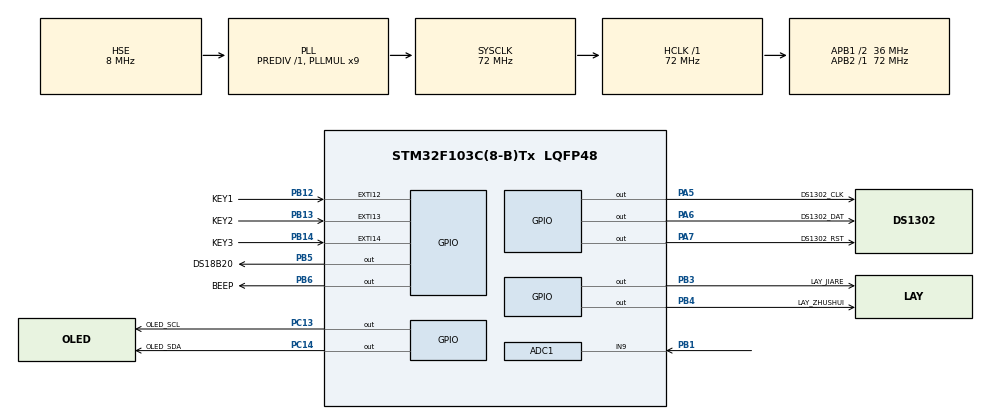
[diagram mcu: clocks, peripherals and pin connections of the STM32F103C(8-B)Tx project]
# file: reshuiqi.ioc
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ADC1.Channel-0\#ChannelRegularConversion=ADC_CHANNEL_9
ADC1.NbrOfConversionFlag=1
ADC1.Rank-0\#ChannelRegularConversion=1
ADC1.SamplingTime-0\#ChannelRegularConversion=ADC_SAMPLETIME_1CYCLE_5
ADC1.master=1
Mcu.Family=STM32F1
Mcu.Name=STM32F103C(8-B)Tx
Mcu.Package=LQFP48
NVIC.EXTI15_10_IRQn=true\:0\:0\:false\:false\:true\:true\:true\:true
NVIC.PriorityGroup=NVIC_PRIORITYGROUP_4
NVIC.TIM1_UP_IRQn=true\:1\:0\:true\:false\:true\:true\:true\:true
PA13.Mode=Serial_Wire
PA13.Signal=SYS_JTMS-SWDIO
PA14.Mode=Serial_Wire
PA14.Signal=SYS_JTCK-SWCLK
PA5.GPIO_Label=DS1302_CLK
PA5.GPIO_ModeDefaultOutputPP=GPIO_MODE_OUTPUT_PP
PA5.GPIO_PuPd=GPIO_PULLUP
PA5.GPIO_Speed=GPIO_SPEED_FREQ_HIGH
PA5.PinState=GPIO_PIN_SET
PA5.Signal=GPIO_Output
PA6.GPIO_Label=DS1302_DAT
PA6.GPIO_ModeDefaultOutputPP=GPIO_MODE_OUTPUT_PP
PA6.GPIO_PuPd=GPIO_PULLUP
PA6.GPIO_Speed=GPIO_SPEED_FREQ_HIGH
PA6.PinState=GPIO_PIN_SET
PA6.Signal=GPIO_Output
PA7.GPIO_Label=DS1302_RST
PA7.GPIO_ModeDefaultOutputPP=GPIO_MODE_OUTPUT_PP
PA7.GPIO_PuPd=GPIO_PULLUP
PA7.GPIO_Speed=GPIO_SPEED_FREQ_HIGH
PA7.PinState=GPIO_PIN_SET
PA7.Signal=GPIO_Output
PB1.Signal=ADCx_IN9
PB12.GPIO_Label=KEY1
PB12.GPIO_ModeDefaultEXTI=GPIO_MODE_IT_FALLING
PB12.GPIO_PuPd=GPIO_PULLUP
PB12.Signal=GPXTI12
PB13.GPIO_Label=KEY2
PB13.GPIO_ModeDefaultEXTI=GPIO_MODE_IT_FALLING
PB13.GPIO_PuPd=GPIO_PULLUP
PB13.Signal=GPXTI13
PB14.GPIO_Label=KEY3
PB14.GPIO_ModeDefaultEXTI=GPIO_MODE_IT_FALLING
PB14.GPIO_PuPd=GPIO_PULLUP
PB14.Signal=GPXTI14
PB3.GPIO_Label=LAY_JIARE
PB3.GPIO_ModeDefaultOutputPP=GPIO_MODE_OUTPUT_PP
PB3.GPIO_PuPd=GPIO_PULLDOWN
PB3.GPIO_Speed=GPIO_SPEED_FREQ_HIGH
PB3.PinState=GPIO_PIN_SET
PB3.Signal=GPIO_Output
PB4.GPIO_Label=LAY_ZHUSHUI
PB4.GPIO_ModeDefaultOutputPP=GPIO_MODE_OUTPUT_PP
PB4.GPIO_PuPd=GPIO_PULLDOWN
PB4.GPIO_Speed=GPIO_SPEED_FREQ_HIGH
PB4.PinState=GPIO_PIN_SET
PB4.Signal=GPIO_Output
PB5.GPIO_Label=DS18B20
PB5.GPIO_ModeDefaultOutputPP=GPIO_MODE_OUTPUT_PP
PB5.GPIO_PuPd=GPIO_PULLUP
PB5.GPIO_Speed=GPIO_SPEED_FREQ_HIGH
PB5.PinState=GPIO_PIN_SET
PB5.Signal=GPIO_Output
PB6.GPIO_Label=BEEP
PB6.GPIO_ModeDefaultOutputPP=GPIO_MODE_OUTPUT_PP
PB6.GPIO_PuPd=GPIO_PULLUP
PB6.GPIO_Speed=GPIO_SPEED_FREQ_HIGH
PB6.PinState=GPIO_PIN_SET
PB6.Signal=GPIO_Output
PC13-TAMPER-RTC.GPIO_Label=OLED_SCL
PC13-TAMPER-RTC.GPIO_ModeDefaultOutputPP=GPIO_MODE_OUTPUT_PP
PC13-TAMPER-RTC.GPIO_PuPd=GPIO_PULLUP
PC13-TAMPER-RTC.GPIO_Speed=GPIO_SPEED_FREQ_HIGH
PC13-TAMPER-RTC.PinState=GPIO_PIN_SET
PC13-TAMPER-RTC.Signal=GPIO_Output
PC14-OSC32_IN.GPIO_Label=OLED_SDA
PC14-OSC32_IN.GPIO_ModeDefaultOutputPP=GPIO_MODE_OUTPUT_PP
PC14-OSC32_IN.GPIO_PuPd=GPIO_PULLUP
PC14-OSC32_IN.GPIO_Speed=GPIO_SPEED_FREQ_HIGH
PC14-OSC32_IN.PinState=GPIO_PIN_SET
PC14-OSC32_IN.Signal=GPIO_Output
PD0-OSC_IN.Mode=HSE-External-Oscillator
PD0-OSC_IN.Signal=RCC_OSC_IN
PD1-OSC_OUT.Mode=HSE-External-Oscillator
PD1-OSC_OUT.Signal=RCC_OSC_OUT
ProjectManager.HeapSize=0x200
ProjectManager.StackSize=0x400
ProjectManager.TargetToolchain=MDK-ARM V5.32
RCC.ADCPresc=RCC_ADCPCLK2_DIV6
RCC.AHBFreq_Value=72000000
RCC.APB1CLKDivider=RCC_HCLK_DIV2
RCC.APB1Freq_Value=36000000
RCC.APB1TimFreq_Value=72000000
RCC.APB2Freq_Value=72000000
RCC.APB2TimFreq_Value=72000000
RCC.HCLKFreq_Value=72000000
RCC.PLLMUL=RCC_PLL_MUL9
RCC.PLLSourceVirtual=RCC_PLLSOURCE_HSE
RCC.SYSCLKFreq_VALUE=72000000
RCC.SYSCLKSource=RCC_SYSCLKSOURCE_PLLCLK
RCC.USBFreq_Value=72000000
SH.ADCx_IN9.0=ADC1_IN9,IN9
TIM1.AutoReloadPreload=TIM_AUTORELOAD_PRELOAD_ENABLE
TIM1.Period=999
VP_TIM1_VS_ClockSourceINT.Mode=Internal
board=custom

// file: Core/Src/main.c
/* USER CODE BEGIN Header */
/**
  ******************************************************************************
  * @file           : main.c
  * @brief          : Main program body
  ******************************************************************************
  * @attention
  *
  * Copyright (c) 2026 STMicroelectronics.
  * All rights reserved.
  *
  * This software is licensed under terms that can be found in the LICENSE file
  * in the root directory of this software component.
  * If no LICENSE file comes with this software, it is provided AS-IS.
  *
  ******************************************************************************
  */
/* USER CODE END Header */
#include "main.h"
#include "adc.h"
#include "tim.h"
#include "gpio.h"

/* USER CODE BEGIN Includes */
#include "oled.h"
#include "ds1302.h"
#include "ds18b20.h"
#include <stdio.h>
#include <string.h>
/* USER CODE END Includes */

/* USER CODE BEGIN PV */
DS1302_Time time;
uint8_t time_str[32];
float temperature;
uint8_t temp_str[32];
uint16_t adc_value;
uint8_t water_depth_str[32];
uint8_t water_fill_str[32];
uint8_t heating_str[32];
volatile uint8_t time_update_flag = 0;

// 按键标志
volatile uint8_t key1_pressed = 0;
volatile uint8_t key2_pressed = 0;
volatile uint8_t key3_pressed = 0;

// 设置状态
typedef enum {
    STATE_MAIN,           // 主界面
    STATE_SET_TEMP_HIGH,  // 设置温度高阈值
    STATE_SET_TEMP_LOW,   // 设置温度低阈值
    STATE_SET_WATER_LEVEL, // 设置水位阈值
    STATE_SET_TIME,       // 设置时间
    STATE_SET_WATER_TIME  // 设置注水时刻
} SystemState;

SystemState current_state = STATE_MAIN;
uint8_t setting_index = 0;

// 设置参数
int8_t temp_high_threshold = 60;
int8_t temp_low_threshold = 20;
uint16_t water_level_threshold = 100;
DS1302_Time water_fill_time;

// 定时注水
uint8_t water_fill_active = 0;
uint32_t water_fill_start_time = 0;
uint8_t water_fill_triggered = 0;

// 加热状态
uint8_t heating_active = 0;

// 显示缓冲
uint8_t display_line1[32];
uint8_t display_line2[32];
uint8_t display_line3[32];
uint8_t display_line4[32];

// 用于检测状态变化
SystemState previous_state = STATE_MAIN;
/* 用户参数存储结构 */
typedef struct {
    int8_t temp_high_threshold;
    int8_t temp_low_threshold;
    uint16_t water_level_threshold;
    uint32_t checksum;
} UserParams;

/* Flash存储地址 - 使用最后一个扇区 */
#define FLASH_USER_START_ADDR  ((uint32_t)0x0801F800)

/* 用于存储参数的变量 */
UserParams user_params;

/* USER CODE END PV */

void SystemClock_Config(void);
/* USER CODE BEGIN PFP */
void SaveParamsToFlash(void);
void LoadParamsFromFlash(void);
uint32_t CalculateChecksum(UserParams *params);
/* USER CODE END PFP */

/* USER CODE BEGIN 0 */

/* 计算校验和 */
uint32_t CalculateChecksum(UserParams *params)
{
    uint32_t sum = 0;
    sum += (uint32_t)params->temp_high_threshold;
    sum += (uint32_t)params->temp_low_threshold;
    sum += (uint32_t)params->water_level_threshold;
    return sum;
}

/* 保存参数到Flash */
void SaveParamsToFlash(void)
{
    FLASH_EraseInitTypeDef EraseInitStruct;
    uint32_t PAGEError = 0;
    HAL_StatusTypeDef status;

    /* 解锁Flash */
    HAL_FLASH_Unlock();

    /* 擦除指定页 */
    EraseInitStruct.TypeErase = FLASH_TYPEERASE_PAGES;
    EraseInitStruct.PageAddress = FLASH_USER_START_ADDR;
    EraseInitStruct.NbPages = 1;

    status = HAL_FLASHEx_Erase(&EraseInitStruct, &PAGEError);

    if (status == HAL_OK)
    {
        /* 填充参数结构体 */
        user_params.temp_high_threshold = temp_high_threshold;
        user_params.temp_low_threshold = temp_low_threshold;
        user_params.water_level_threshold = water_level_threshold;
        user_params.checksum = CalculateChecksum(&user_params);

        /* 写入Flash */
        uint32_t *src = (uint32_t *)&user_params;
        uint32_t addr = FLASH_USER_START_ADDR;
        uint32_t size = (sizeof(UserParams) + 3) / 4; /* 以字为单位 */

        for (uint32_t i = 0; i < size; i++)
        {
            HAL_FLASH_Program(FLASH_TYPEPROGRAM_WORD, addr, *src);
            addr += 4;
            src++;
        }
    }

    /* 锁定Flash */
    HAL_FLASH_Lock();
}

/* 从Flash加载参数 */
void LoadParamsFromFlash(void)
{
    UserParams *flash_params = (UserParams *)FLASH_USER_START_ADDR;

    /* 检查校验和 */
    if (flash_params->checksum == CalculateChecksum(flash_params))
    {
        /* 加载有效参数 */
        temp_high_threshold = flash_params->temp_high_threshold;
        temp_low_threshold = flash_params->temp_low_threshold;
        water_level_threshold = flash_params->water_level_threshold;
    }
    /* 如果校验和无效，保持默认值 */
}

void HAL_GPIO_EXTI_Callback(uint16_t GPIO_Pin)
{
    if (GPIO_Pin == KEY1_Pin)
    {
        key1_pressed = 1;
    }
    else if (GPIO_Pin == KEY2_Pin)
    {
        key2_pressed = 1;
    }
    else if (GPIO_Pin == KEY3_Pin)
    {
        key3_pressed = 1;
    }
}

/* USER CODE END 0 */

int main(void)
{

  /* MCU Configuration--------------------------------------------------------*/

  /* Reset of all peripherals, Initializes the Flash interface and the Systick. */
  HAL_Init();

  /* Configure the system clock */
  SystemClock_Config();

  /* Initialize all configured peripherals */
  MX_GPIO_Init();
  MX_TIM1_Init();
  MX_ADC1_Init();
  /* USER CODE BEGIN 2 */
  OLED_Init();
  DS1302_Init();
  DS18B20_Init();

//  time.year = 24;
//  time.month = 6;
//  time.day = 1;
//  time.week = 1;
//  time.hour = 12;
//  time.minute = 0;
//  time.second = 0;
//  DS1302_SetTime(&time);

  /* 从Flash加载保存的参数 */
  LoadParamsFromFlash();

  // 初始化注水时间
  water_fill_time.hour = 12;
  water_fill_time.minute = 0;
  water_fill_time.second = 0;

  // 启动定时器
  HAL_TIM_Base_Start_IT(&htim1);
  /* USER CODE END 2 */

  /* Infinite loop */
  while (1)
  {

    /* USER CODE BEGIN 3 */

    // 读取当前时间 - 只有不在设置时间界面时才更新
    if (time_update_flag && current_state != STATE_SET_TIME)
    {
        time_update_flag = 0;
        DS1302_GetTime(&time);
    }

    // 检查定时注水
    static uint32_t check_water_fill_timer = 0;
    if (HAL_GetTick() - check_water_fill_timer >= 100)
    {
        check_water_fill_timer = HAL_GetTick();

        // 检查是否到达注水时刻
        if (current_state == STATE_MAIN && !water_fill_active)
        {
            if (time.hour == water_fill_time.hour &&
                time.minute == water_fill_time.minute &&
                time.second == water_fill_time.second &&
                !water_fill_triggered)
            {
                // 开始注水
                HAL_GPIO_WritePin(LAY_ZHUSHUI_GPIO_Port, LAY_ZHUSHUI_Pin, GPIO_PIN_SET);
                water_fill_active = 1;
                water_fill_start_time = HAL_GetTick();
                water_fill_triggered = 1;
            }
        }

        // 检查注水5秒后关闭
        if (water_fill_active && (HAL_GetTick() - water_fill_start_time >= 5000))
        {
            HAL_GPIO_WritePin(LAY_ZHUSHUI_GPIO_Port, LAY_ZHUSHUI_Pin, GPIO_PIN_RESET);
            water_fill_active = 0;
        }

        // 重置triggered标志
        if (time.second != water_fill_time.second)
        {
            water_fill_triggered = 0;
        }
    }

    // 处理按键
    if (key1_pressed)
    {
        key1_pressed = 0;

        // 切换状态
        switch (current_state)
        {
            case STATE_MAIN:
                current_state = STATE_SET_TEMP_HIGH;
                setting_index = 0;
                break;
            case STATE_SET_TEMP_HIGH:
                current_state = STATE_SET_TEMP_LOW;
                /* 保存参数到Flash */
                SaveParamsToFlash();
                break;
            case STATE_SET_TEMP_LOW:
                current_state = STATE_SET_WATER_LEVEL;
                /* 保存参数到Flash */
                SaveParamsToFlash();
                break;
            case STATE_SET_WATER_LEVEL:
                current_state = STATE_SET_TIME;
                setting_index = 0;
                /* 保存参数到Flash */
                SaveParamsToFlash();
                // 进入设置时间页面时，先读取DS1302的当前时间作为初始值
                DS1302_GetTime(&time);
                break;
            case STATE_SET_TIME:
                if (setting_index < 5)
                {
                    setting_index++;
                }
                else
                {
                    current_state = STATE_SET_WATER_TIME;
                    // 保存时间到DS1302
                    DS1302_SetTime(&time);
                    setting_index = 0;
                }
                break;
            case STATE_SET_WATER_TIME:
                if (setting_index < 2)
                {
                    setting_index++;
                }
                else
                {
                    current_state = STATE_MAIN;
                }
                break;
        }
    }

    if (key2_pressed)
    {
        key2_pressed = 0;

        switch (current_state)
        {
            case STATE_SET_TEMP_HIGH:
                if (temp_high_threshold < 100) temp_high_threshold++;
                break;
            case STATE_SET_TEMP_LOW:
                if (temp_low_threshold < temp_high_threshold - 1) temp_low_threshold++;
                break;
            case STATE_SET_WATER_LEVEL:
                if (water_level_threshold < 4500) water_level_threshold += 100;
                break;
            case STATE_SET_TIME:
                switch (setting_index)
                {
                    case 0: if (time.year < 99) time.year++; break;
                    case 1: if (time.month < 12) time.month++; else time.month = 1; break;
                    case 2: if (time.day < 31) time.day++; else time.day = 1; break;
                    case 3: if (time.hour < 23) time.hour++; else time.hour = 0; break;
                    case 4: if (time.minute < 59) time.minute++; else time.minute = 0; break;
                    case 5: if (time.second < 59) time.second++; else time.second = 0; break;
                }
                break;
            case STATE_SET_WATER_TIME:
                switch (setting_index)
                {
                    case 0: if (water_fill_time.hour < 23) water_fill_time.hour++; else water_fill_time.hour = 0; break;
                    case 1: if (water_fill_time.minute < 59) water_fill_time.minute++; else water_fill_time.minute = 0; break;
                    case 2: if (water_fill_time.second < 59) water_fill_time.second++; else water_fill_time.second = 0; break;
                }
                break;
            default:
                break;
        }
    }

    if (key3_pressed)
    {
        key3_pressed = 0;

        switch (current_state)
        {
            case STATE_MAIN:
                // 主界面不处理
                break;
            case STATE_SET_TEMP_HIGH:
                if (temp_high_threshold > temp_low_threshold + 1) temp_high_threshold--;
                break;
            case STATE_SET_TEMP_LOW:
                if (temp_low_threshold > 0) temp_low_threshold--;
                break;
            case STATE_SET_WATER_LEVEL:
                if (water_level_threshold > 0) water_level_threshold -= 100;
                break;
            case STATE_SET_TIME:
                switch (setting_index)
                {
                    case 0: if (time.year > 0) time.year--; break;
                    case 1: if (time.month > 1) time.month--; else time.month = 12; break;
                    case 2: if (time.day > 1) time.day--; else time.day = 31; break;
                    case 3: if (time.hour > 0) time.hour--; else time.hour = 23; break;
                    case 4: if (time.minute > 0) time.minute--; else time.minute = 59; break;
                    case 5: if (time.second > 0) time.second--; else time.second = 59; break;
                }
                break;
            case STATE_SET_WATER_TIME:
                switch (setting_index)
                {
                    case 0: if (water_fill_time.hour > 0) water_fill_time.hour--; else water_fill_time.hour = 23; break;
                    case 1: if (water_fill_time.minute > 0) water_fill_time.minute--; else water_fill_time.minute = 59; break;
                    case 2: if (water_fill_time.second > 0) water_fill_time.second--; else water_fill_time.second = 59; break;
                }
                break;
        }
    }

    // 读取传感器数据
    static uint32_t sensor_update_timer = 0;
    if (HAL_GetTick() - sensor_update_timer >= 1000)
    {
        sensor_update_timer = HAL_GetTick();

        // 读取温度
        temperature = DS18B20_Get_Temperature();

        // 读取ADC
        HAL_ADC_Start(&hadc1);
        if (HAL_ADC_PollForConversion(&hadc1, 10) == HAL_OK)
        {
            adc_value = HAL_ADC_GetValue(&hadc1);
        }
        HAL_ADC_Stop(&hadc1);

        // 温度控制（仅在主界面）
        if (current_state == STATE_MAIN && temperature > -100)
        {
            if (temperature < temp_low_threshold)
            {
                // 低于低阈值，开启加热
                heating_active = 1;
                HAL_GPIO_WritePin(LAY_JIARE_GPIO_Port, LAY_JIARE_Pin, GPIO_PIN_SET);
            }
            else if (temperature >= temp_high_threshold)
            {
                // 达到高阈值，停止加热
                heating_active = 0;
                HAL_GPIO_WritePin(LAY_JIARE_GPIO_Port, LAY_JIARE_Pin, GPIO_PIN_RESET);
            }
            else
            {
                // 温度在低阈值和高阈值之间，保持当前状态
                if (heating_active)
                {
                    HAL_GPIO_WritePin(LAY_JIARE_GPIO_Port, LAY_JIARE_Pin, GPIO_PIN_SET);
                }
                else
                {
                    HAL_GPIO_WritePin(LAY_JIARE_GPIO_Port, LAY_JIARE_Pin, GPIO_PIN_RESET);
                }
            }

            // 温度报警控制
            if (temperature >= temp_high_threshold)
            {
                // 超过高阈值，拉低beep报警
                HAL_GPIO_WritePin(BEEP_GPIO_Port, BEEP_Pin, GPIO_PIN_RESET);
            }
            else
            {
                // 低于高阈值，拉高beep（默认状态）
                HAL_GPIO_WritePin(BEEP_GPIO_Port, BEEP_Pin, GPIO_PIN_SET);
            }
        }

        // 水位控制（仅在主界面且不在定时注水时）
        if (current_state == STATE_MAIN && !water_fill_active)
        {
            if (adc_value < water_level_threshold)
            {
                HAL_GPIO_WritePin(LAY_ZHUSHUI_GPIO_Port, LAY_ZHUSHUI_Pin, GPIO_PIN_SET);
            }
            else
            {
                HAL_GPIO_WritePin(LAY_ZHUSHUI_GPIO_Port, LAY_ZHUSHUI_Pin, GPIO_PIN_RESET);
            }
        }
    }

    // 显示界面 - 只在状态切换时清屏
    if (current_state != previous_state)
    {
        OLED_Clear();
        previous_state = current_state;
    }

    if (current_state == STATE_MAIN)
    {
        // 主界面 - 每次都完整绘制（避免静态变量问题）
        sprintf((char*)display_line1, "Water Temp:%.1f C", temperature);
        OLED_ShowString(0, 0, display_line1, 8, 1);

        sprintf((char*)display_line2, "Water Depth:%4d", adc_value);
        OLED_ShowString(0, 8, display_line2, 8, 1);

        if (water_fill_active)
        {
            sprintf((char*)display_line3, "Water Fill:YES*");
        }
        else if (HAL_GPIO_ReadPin(LAY_ZHUSHUI_GPIO_Port, LAY_ZHUSHUI_Pin) == GPIO_PIN_SET)
        {
            sprintf((char*)display_line3, "Water Fill:YES");
        }
        else
        {
            sprintf((char*)display_line3, "Water Fill:NO ");
        }
        OLED_ShowString(0, 16, display_line3, 8, 1);

        if (HAL_GPIO_ReadPin(LAY_JIARE_GPIO_Port, LAY_JIARE_Pin) == GPIO_PIN_SET)
        {
            sprintf((char*)display_line4, "Heating:YES");
        }
        else
        {
            sprintf((char*)display_line4, "Heating:NO ");
        }
        OLED_ShowString(0, 24, display_line4, 8, 1);

        sprintf((char*)time_str, "20%02d-%02d-%02d %02d:%02d:%02d",
                time.year, time.month, time.day,
                time.hour, time.minute, time.second);
        OLED_ShowString(0, 32, time_str, 8, 1);

        OLED_Refresh();
    }
    else if (current_state == STATE_SET_TEMP_HIGH || current_state == STATE_SET_TEMP_LOW)
    {
        // 温度阈值设置界面 - 有变化才更新
        static int8_t prev_temp_high = -1;
        static int8_t prev_temp_low = -1;
        static SystemState prev_temp_state = STATE_MAIN;

        if (temp_high_threshold != prev_temp_high || temp_low_threshold != prev_temp_low || current_state != prev_temp_state)
        {
            sprintf((char*)display_line1, "Temp Threshold");
            sprintf((char*)display_line2, "High:%3d C", temp_high_threshold);
            sprintf((char*)display_line3, "Low :%3d C", temp_low_threshold);

            if (current_state == STATE_SET_TEMP_HIGH)
            {
                sprintf((char*)display_line4, "Set High ->");
            }
            else
            {
                sprintf((char*)display_line4, "Set Low  ->");
            }

            OLED_ShowString(0, 0, display_line1, 8, 1);
            OLED_ShowString(0, 8, display_line2, 8, 1);
            OLED_ShowString(0, 16, display_line3, 8, 1);
            OLED_ShowString(0, 24, display_line4, 8, 1);
            OLED_Refresh();

            prev_temp_high = temp_high_threshold;
            prev_temp_low = temp_low_threshold;
            prev_temp_state = current_state;
        }
    }
    else if (current_state == STATE_SET_WATER_LEVEL)
    {
        // 水位阈值设置界面 - 有变化才更新
        static uint16_t prev_water_thresh = 0xFFFF;
        static uint16_t prev_water_val = 0xFFFF;

        if (water_level_threshold != prev_water_thresh || adc_value != prev_water_val)
        {
            sprintf((char*)display_line1, "Water Level");
            sprintf((char*)display_line2, "Threshold:%4d", water_level_threshold);
            sprintf((char*)display_line3, "Current :%4d", adc_value);

            OLED_ShowString(0, 0, display_line1, 8, 1);
            OLED_ShowString(0, 8, display_line2, 8, 1);
            OLED_ShowString(0, 16, display_line3, 8, 1);
            OLED_Refresh();

            prev_water_thresh = water_level_threshold;
            prev_water_val = adc_value;
        }
    }
    else if (current_state == STATE_SET_TIME)
    {
        // 时间设置界面 - 每次都显示
        OLED_Clear();

        sprintf((char*)display_line1, "Set Time");
        sprintf((char*)display_line2, "20%02d-%02d-%02d %02d:%02d:%02d",
                time.year, time.month, time.day, time.hour, time.minute, time.second);

        char cursor[32] = "                                ";
        if (setting_index == 0) cursor[2] = '^';   // 年份位置
        else if (setting_index == 1) cursor[5] = '^';  // 月份位置
        else if (setting_index == 2) cursor[8] = '^';  // 日期位置
        else if (setting_index == 3) cursor[11] = '^'; // 小时位置
        else if (setting_index == 4) cursor[14] = '^'; // 分钟位置
        else if (setting_index == 5) cursor[17] = '^'; // 秒位置

        OLED_ShowString(0, 0, display_line1, 8, 1);
        OLED_ShowString(0, 8, display_line2, 8, 1);
        OLED_ShowString(0, 16, (uint8_t*)cursor, 8, 1);
        OLED_Refresh();
    }
    else if (current_state == STATE_SET_WATER_TIME)
    {
        // 注水时刻设置界面 - 有变化才更新
        static DS1302_Time prev_water_fill;
        static uint8_t prev_fill_idx = 0xFF;

        if (water_fill_time.hour != prev_water_fill.hour ||
            water_fill_time.minute != prev_water_fill.minute ||
            water_fill_time.second != prev_water_fill.second ||
            setting_index != prev_fill_idx)
        {
            OLED_Clear();

            sprintf((char*)display_line1, "Set Water Time");
            sprintf((char*)display_line2, "%02d:%02d:%02d", water_fill_time.hour, water_fill_time.minute, water_fill_time.second);

            char cursor[16] = "          ";
            if (setting_index == 0) cursor[1] = '^';
            else if (setting_index == 1) cursor[4] = '^';
            else if (setting_index == 2) cursor[7] = '^';

            OLED_ShowString(0, 0, display_line1, 8, 1);
            OLED_ShowString(0, 8, display_line2, 8, 1);
            OLED_ShowString(0, 16, (uint8_t*)cursor, 8, 1);
            OLED_Refresh();

            prev_water_fill = water_fill_time;
            prev_fill_idx = setting_index;
        }
    }
  }
  /* USER CODE END 3 */
}

void SystemClock_Config(void)
{
  RCC_OscInitTypeDef RCC_OscInitStruct = {0};
  RCC_ClkInitTypeDef RCC_ClkInitStruct = {0};
  RCC_PeriphCLKInitTypeDef PeriphClkInit = {0};

  /** Initializes the RCC Oscillators according to the specified parameters
  * in the RCC_OscInitTypeDef structure.
  */
  RCC_OscInitStruct.OscillatorType = RCC_OSCILLATORTYPE_HSE;
  RCC_OscInitStruct.HSEState = RCC_HSE_ON;
  RCC_OscInitStruct.HSEPredivValue = RCC_HSE_PREDIV_DIV1;
  RCC_OscInitStruct.HSIState = RCC_HSI_ON;
  RCC_OscInitStruct.PLL.PLLState = RCC_PLL_ON;
  RCC_OscInitStruct.PLL.PLLSource = RCC_PLLSOURCE_HSE;
  RCC_OscInitStruct.PLL.PLLMUL = RCC_PLL_MUL9;
  if (HAL_RCC_OscConfig(&RCC_OscInitStruct) != HAL_OK)
  {
    Error_Handler();
  }

  /** Initializes the CPU, AHB and APB buses clocks
  */
  RCC_ClkInitStruct.ClockType = RCC_CLOCKTYPE_HCLK|RCC_CLOCKTYPE_SYSCLK
                              |RCC_CLOCKTYPE_PCLK1|RCC_CLOCKTYPE_PCLK2;
  RCC_ClkInitStruct.SYSCLKSource = RCC_SYSCLKSOURCE_PLLCLK;
  RCC_ClkInitStruct.AHBCLKDivider = RCC_SYSCLK_DIV1;
  RCC_ClkInitStruct.APB1CLKDivider = RCC_HCLK_DIV2;
  RCC_ClkInitStruct.APB2CLKDivider = RCC_HCLK_DIV1;

  if (HAL_RCC_ClockConfig(&RCC_ClkInitStruct, FLASH_LATENCY_2) != HAL_OK)
  {
    Error_Handler();
  }
  PeriphClkInit.PeriphClockSelection = RCC_PERIPHCLK_ADC;
  PeriphClkInit.AdcClockSelection = RCC_ADCPCLK2_DIV6;
  if (HAL_RCCEx_PeriphCLKConfig(&PeriphClkInit) != HAL_OK)
  {
    Error_Handler();
  }
}

/* USER CODE BEGIN 4 */
void HAL_TIM_PeriodElapsedCallback(TIM_HandleTypeDef *htim)
{
    if (htim->Instance == TIM1)
    {
        time_update_flag = 1;
    }
}
/* USER CODE END 4 */

void Error_Handler(void)
{
  __disable_irq();
  while (1)
  {
  }
}
